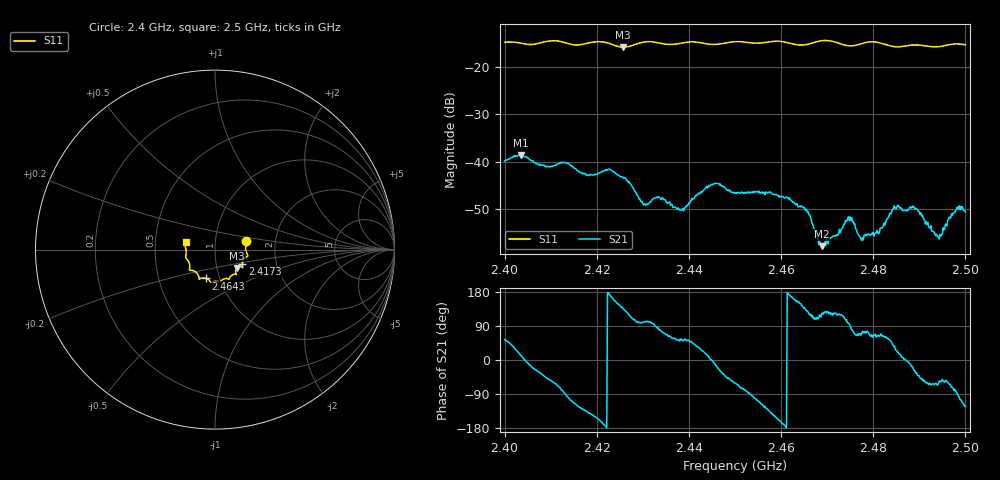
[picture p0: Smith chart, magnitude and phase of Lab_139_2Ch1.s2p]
# Hz S RI R 50
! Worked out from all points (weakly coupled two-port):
!   601 points, 2.4 GHz to 2.5 GHz, reference 50 ohm
!   highest |S21| = -38.59 dB at 2.4035 GHz (marker M1); lowest = -57.7 dB at 2.4688 GHz (marker M2)
!   lowest |S11| = -15.9 dB at 2.4257 GHz (marker M3), VSWR 1.38, Z = 62.4 - j13.1 ohm
!   |S11| at or under -10 dB: start of sweep to end of sweep
!   S12 and S22 are empty: the file has one direction only
!   S11 on the Smith chart (normalised r, x): 2.4 GHz: 1.41, +0.14; 2.4173 GHz: 1.34, -0.23; 2.4643 GHz: 0.86, -0.28; 2.5 GHz: 0.72, +0.06
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2.4e9  0.1735 0.0484  0.00603 0.00819  0 0  0 0
2.4035e9  0.1736 0.0296  0.0115 0.00256  0 0  0 0
2.416667e9  0.153 -0.0747  -0.00463 -0.00607  0 0  0 0
2.417333e9  0.1521 -0.0823  -0.00507 -0.00552  0 0  0 0
2.425667e9  0.1225 -0.1023  -0.00499 0.00472  0 0  0 0
2.430167e9  0.1176 -0.1371  -0.000581 0.00347  0 0  0 0
2.433333e9  0.1126 -0.1374  0.00037 0.00429  0 0  0 0
2.438333e9  0.0811 -0.1561  0.00179 0.00256  0 0  0 0
2.445333e9  0.0527 -0.1624  0.00582 -0.000577  0 0  0 0
2.45e9  0.0286 -0.1807  0.00232 -0.00408  0 0  0 0
2.457333e9  -0.0158 -0.1812  -0.00324 -0.00348  0 0  0 0
2.464333e9  -0.0499 -0.1606  -0.00285 0.00179  0 0  0 0
2.466667e9  -0.0759 -0.1591  -0.000934 0.00211  0 0  0 0
2.468833e9  -0.0876 -0.1654  -0.000716 0.00109  0 0  0 0
2.4745e9  -0.1017 -0.1308  -0.000393 0.00258  0 0  0 0
2.4775e9  -0.131 -0.1152  0.000476 0.00142  0 0  0 0
2.483333e9  -0.1402 -0.09  0.00151 0.00219  0 0  0 0
2.485e9  -0.1442 -0.0721  0.00292 0.00137  0 0  0 0
2.489e9  -0.1626 -0.0455  0.00282 -0.00149  0 0  0 0
2.494333e9  -0.1621 0.00205  0.000871 -0.00128  0 0  0 0
2.498167e9  -0.17 0.0331  9.15e-05 -0.00331  0 0  0 0
2.5e9  -0.1638 0.0426  -0.00156 -0.00254  0 0  0 0
